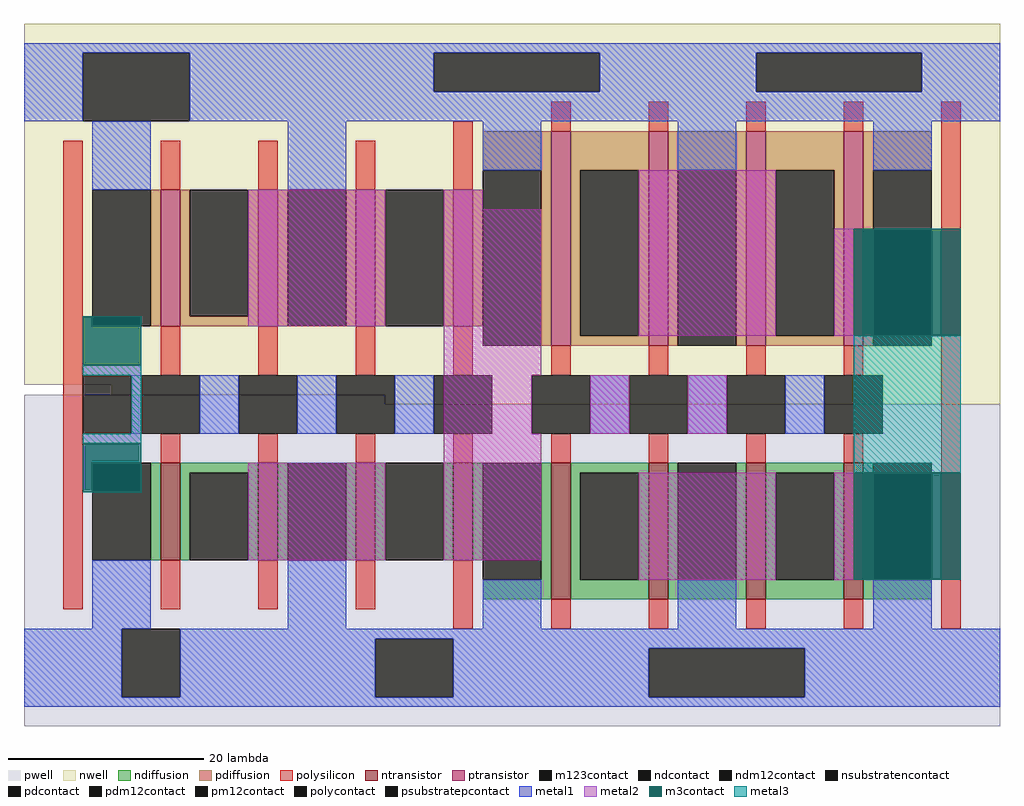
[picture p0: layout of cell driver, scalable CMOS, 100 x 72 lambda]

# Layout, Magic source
magic
tech scmos
<< nwell >>
rect -8 -26 92 11
rect 1 -27 92 -26
rect 29 -28 92 -27
<< pwell >>
rect -8 -28 29 -27
rect -8 -61 92 -28
<< ntransistor >>
rect 6 -44 8 -34
rect 16 -44 18 -34
rect 26 -44 28 -34
rect 36 -44 38 -34
rect 46 -48 48 -34
rect 56 -48 58 -34
rect 66 -48 68 -34
rect 76 -48 78 -34
<< ptransistor >>
rect 6 -20 8 -6
rect 16 -20 18 -6
rect 26 -20 28 -6
rect 36 -20 38 -6
rect 46 -22 48 0
rect 56 -22 58 0
rect 66 -22 68 0
rect 76 -22 78 0
<< ndiffusion >>
rect 5 -44 6 -34
rect 8 -35 16 -34
rect 8 -44 9 -35
rect 15 -44 16 -35
rect 18 -44 19 -34
rect 25 -44 26 -34
rect 28 -44 29 -34
rect 35 -44 36 -34
rect 38 -44 39 -34
rect 45 -46 46 -34
rect 39 -48 46 -46
rect 48 -35 56 -34
rect 48 -46 49 -35
rect 55 -46 56 -35
rect 48 -48 56 -46
rect 58 -46 59 -34
rect 65 -46 66 -34
rect 58 -48 66 -46
rect 68 -35 76 -34
rect 68 -46 69 -35
rect 75 -46 76 -35
rect 68 -48 76 -46
rect 78 -46 79 -34
rect 78 -48 85 -46
<< pdiffusion >>
rect 39 -4 46 0
rect 5 -20 6 -6
rect 8 -19 9 -6
rect 15 -19 16 -6
rect 8 -20 16 -19
rect 18 -20 19 -6
rect 25 -20 26 -6
rect 28 -20 29 -6
rect 35 -20 36 -6
rect 38 -20 39 -6
rect 45 -22 46 -4
rect 48 -4 56 0
rect 48 -21 49 -4
rect 55 -21 56 -4
rect 48 -22 56 -21
rect 58 -4 66 0
rect 58 -22 59 -4
rect 65 -22 66 -4
rect 68 -4 76 0
rect 68 -21 69 -4
rect 75 -21 76 -4
rect 68 -22 76 -21
rect 78 -4 85 0
rect 78 -22 79 -4
<< ndcontact >>
rect -1 -44 5 -34
rect 19 -44 25 -34
rect 39 -46 45 -34
rect 59 -46 65 -34
rect 79 -46 85 -34
<< pdcontact >>
rect -1 -20 5 -6
rect 19 -20 25 -6
rect 39 -22 45 -4
rect 59 -22 65 -4
rect 79 -22 85 -4
<< psubstratepcontact >>
rect 2 -58 8 -51
rect 28 -58 36 -52
rect 56 -58 72 -53
<< nsubstratencontact >>
rect -2 1 9 8
rect 34 4 51 8
rect 67 4 84 8
<< polysilicon >>
rect -4 -49 -2 -1
rect 6 -6 8 -1
rect 16 -6 18 -1
rect 26 -6 28 -1
rect 36 -6 38 1
rect 46 0 48 3
rect 56 0 58 3
rect 66 0 68 3
rect 76 0 78 3
rect 6 -25 8 -20
rect 16 -25 18 -20
rect 26 -25 28 -20
rect 36 -25 38 -20
rect 46 -25 48 -22
rect 56 -25 58 -22
rect 66 -25 68 -22
rect 76 -25 78 -22
rect 6 -34 8 -31
rect 16 -34 18 -31
rect 26 -34 28 -31
rect 36 -34 38 -31
rect 46 -34 48 -31
rect 56 -34 58 -31
rect 66 -34 68 -31
rect 76 -34 78 -31
rect 6 -49 8 -44
rect 16 -49 18 -44
rect 26 -49 28 -44
rect 36 -51 38 -44
rect 46 -51 48 -48
rect 56 -51 58 -48
rect 66 -51 68 -48
rect 76 -51 78 -48
rect 86 -51 88 3
<< polycontact >>
rect 14 -31 20 -25
rect 24 -31 30 -25
rect 34 -31 40 -25
rect 74 -31 80 -25
<< metal1 >>
rect -8 8 92 9
rect -8 1 -2 8
rect 9 4 34 8
rect 51 4 67 8
rect 84 4 92 8
rect 9 1 92 4
rect -1 -6 5 1
rect 19 -6 25 1
rect 39 -4 45 1
rect 59 -4 65 1
rect 79 -4 85 1
rect 3 -31 4 -25
rect 10 -31 14 -25
rect 20 -31 24 -25
rect 30 -31 34 -25
rect 50 -31 54 -25
rect 60 -31 64 -25
rect 70 -31 74 -25
rect -1 -51 5 -44
rect 19 -51 25 -44
rect 39 -51 45 -46
rect 59 -51 65 -46
rect 79 -51 85 -46
rect -8 -58 2 -51
rect 8 -52 92 -51
rect 8 -58 28 -52
rect 36 -53 92 -52
rect 36 -58 56 -53
rect 72 -58 92 -53
rect -8 -59 92 -58
<< pm12contact >>
rect 4 -31 10 -25
rect 44 -31 50 -25
rect 54 -31 60 -25
rect 64 -31 70 -25
<< pdm12contact >>
rect 9 -19 15 -6
rect 29 -20 35 -6
rect 49 -21 55 -4
rect 69 -21 75 -4
<< ndm12contact >>
rect 9 -44 15 -35
rect 29 -44 35 -34
rect 49 -46 55 -35
rect 69 -46 75 -35
<< metal2 >>
rect 15 -20 29 -6
rect 35 -8 39 -6
rect -2 -25 4 -24
rect 35 -25 45 -8
rect 55 -21 69 -4
rect 75 -21 77 -10
rect 3 -31 4 -25
rect 35 -31 44 -25
rect 50 -31 54 -25
rect 60 -31 64 -25
rect -2 -32 4 -31
rect 15 -44 29 -34
rect 35 -44 45 -31
rect 55 -46 69 -35
rect 75 -46 77 -35
<< m3contact >>
rect -2 -24 4 -19
rect 77 -21 88 -10
rect -2 -37 4 -32
rect 77 -46 88 -35
<< m123contact >>
rect -2 -31 3 -25
<< metal3 >>
rect -2 -25 4 -24
rect 3 -31 4 -25
rect -2 -32 4 -31
rect 77 -35 88 -21
<< end >>
